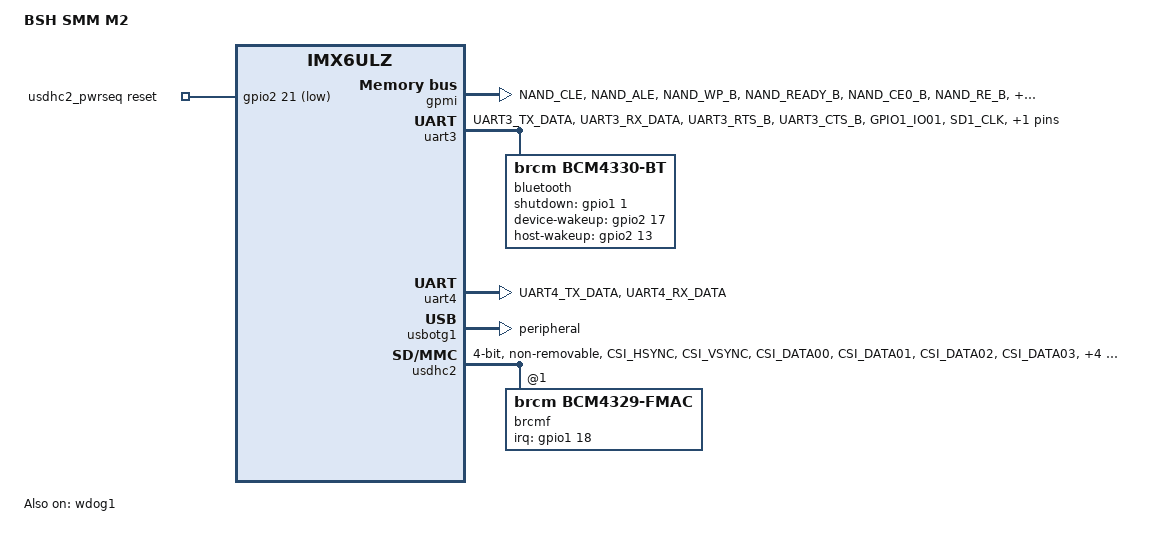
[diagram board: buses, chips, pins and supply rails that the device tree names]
// SPDX-License-Identifier: (GPL-2.0 OR MIT)
/*
 * Copyright (C) 2021 BSH Hausgeraete GmbH
 */

/dts-v1/;

#include <dt-bindings/input/input.h>
#include "imx6ulz.dtsi"

/ {
	model = "BSH SMM M2";
	compatible = "bsh,imx6ulz-bsh-smm-m2", "fsl,imx6ull", "fsl,imx6ulz";

	chosen {
		stdout-path = &uart4;
	};

	usdhc2_pwrseq: usdhc2-pwrseq {
		compatible = "mmc-pwrseq-simple";
		reset-gpios = <&gpio2 21 GPIO_ACTIVE_LOW>;
	};
};

&gpmi {
	pinctrl-names = "default";
	pinctrl-0 = <&pinctrl_gpmi_nand>;
	nand-on-flash-bbt;
	status = "okay";
};

&snvs_poweroff {
	status = "okay";
};

&uart3 {
	pinctrl-names = "default";
	pinctrl-0 = <&pinctrl_uart3>;
	uart-has-rtscts;
	status = "okay";

	bluetooth {
		compatible = "brcm,bcm4330-bt";
		max-speed = <3000000>;
		shutdown-gpios = <&gpio1 1 GPIO_ACTIVE_HIGH>;
		device-wakeup-gpios = <&gpio2 17 GPIO_ACTIVE_HIGH>;
		host-wakeup-gpios = <&gpio2 13 GPIO_ACTIVE_HIGH>;
	};
};

&uart4 {
	pinctrl-names = "default";
	pinctrl-0 = <&pinctrl_uart4>;
	status = "okay";
};

&usbotg1 {
	dr_mode = "peripheral";
	srp-disable;
	hnp-disable;
	adp-disable;
	status = "okay";
};

&usbphy1 {
	fsl,tx-d-cal = <106>;
};

&usdhc2 {
	#address-cells = <1>;
	#size-cells = <0>;
	pinctrl-names = "default";
	pinctrl-0 = <&pinctrl_wlan>;
	bus-width = <4>;
	no-1-8-v;
	non-removable;
	cap-power-off-card;
	keep-power-in-suspend;
	cap-sdio-irq;
	mmc-pwrseq = <&usdhc2_pwrseq>;
	status = "okay";

	brcmf: wifi@1 {
		reg = <1>;
		compatible = "brcm,bcm4329-fmac";
		interrupt-parent = <&gpio1>;
		interrupts = <18 IRQ_TYPE_LEVEL_HIGH>;
		interrupt-names = "host-wake";
	};
};

&wdog1 {
	status = "okay";
};

&iomuxc {
	pinctrl_gpmi_nand: gpminandgrp {
		fsl,pins = <
			MX6UL_PAD_NAND_CLE__RAWNAND_CLE		0xb0b1
			MX6UL_PAD_NAND_ALE__RAWNAND_ALE		0xb0b1
			MX6UL_PAD_NAND_WP_B__RAWNAND_WP_B	0xb0b1
			MX6UL_PAD_NAND_READY_B__RAWNAND_READY_B	0xb000
			MX6UL_PAD_NAND_CE0_B__RAWNAND_CE0_B	0xb0b1
			MX6UL_PAD_NAND_RE_B__RAWNAND_RE_B	0xb0b1
			MX6UL_PAD_NAND_WE_B__RAWNAND_WE_B	0xb0b1
			MX6UL_PAD_NAND_DATA00__RAWNAND_DATA00	0xb0b1
			MX6UL_PAD_NAND_DATA01__RAWNAND_DATA01	0xb0b1
			MX6UL_PAD_NAND_DATA02__RAWNAND_DATA02	0xb0b1
			MX6UL_PAD_NAND_DATA03__RAWNAND_DATA03	0xb0b1
			MX6UL_PAD_NAND_DATA04__RAWNAND_DATA04	0xb0b1
			MX6UL_PAD_NAND_DATA05__RAWNAND_DATA05	0xb0b1
			MX6UL_PAD_NAND_DATA06__RAWNAND_DATA06	0xb0b1
			MX6UL_PAD_NAND_DATA07__RAWNAND_DATA07	0xb0b1
		>;
	};

	pinctrl_uart3: uart3grp {
		fsl,pins = <
			MX6UL_PAD_UART3_TX_DATA__UART3_DCE_TX	0x1b0b1
			MX6UL_PAD_UART3_RX_DATA__UART3_DCE_RX	0x1b099
			MX6UL_PAD_UART3_RTS_B__UART3_DCE_RTS	0x1b0b1
			MX6UL_PAD_UART3_CTS_B__UART3_DCE_CTS	0x1b099
			MX6UL_PAD_GPIO1_IO01__GPIO1_IO01	0x79		/* BT_REG_ON */
			MX6UL_PAD_SD1_CLK__GPIO2_IO17		0x100b1		/* BT_DEV_WAKE out */
			MX6UL_PAD_ENET2_TX_EN__GPIO2_IO13	0x1b0b0		/* BT_HOST_WAKE in */
		>;
	};

	pinctrl_uart4: uart4grp {
		fsl,pins = <
			MX6UL_PAD_UART4_TX_DATA__UART4_DCE_TX	0x1b0b1
			MX6UL_PAD_UART4_RX_DATA__UART4_DCE_RX	0x1b0b1
		>;
	};

	pinctrl_wlan: wlangrp {
		fsl,pins = <
			MX6UL_PAD_CSI_HSYNC__USDHC2_CMD		0x17059
			MX6UL_PAD_CSI_VSYNC__USDHC2_CLK		0x10059
			MX6UL_PAD_CSI_DATA00__USDHC2_DATA0	0x17059
			MX6UL_PAD_CSI_DATA01__USDHC2_DATA1	0x17059
			MX6UL_PAD_CSI_DATA02__USDHC2_DATA2	0x17059
			MX6UL_PAD_CSI_DATA03__USDHC2_DATA3	0x17059
			MX6UL_PAD_SD1_DATA3__GPIO2_IO21		0x79		/* WL_REG_ON */
			MX6UL_PAD_UART2_CTS_B__GPIO1_IO22	0x100b1		/* WL_DEV_WAKE - WiFi_GPIO_4 - WiFi FW UART */
			MX6UL_PAD_UART1_CTS_B__GPIO1_IO18	0x1b0b1		/* WL_HOST_WAKE - WIFI_GPIO_0 - OOB IRQ */
			MX6UL_PAD_ENET1_RX_EN__OSC32K_32K_OUT	0x4001b031	/* OSC 32Khz wifi clk in */
		>;
	};
};
